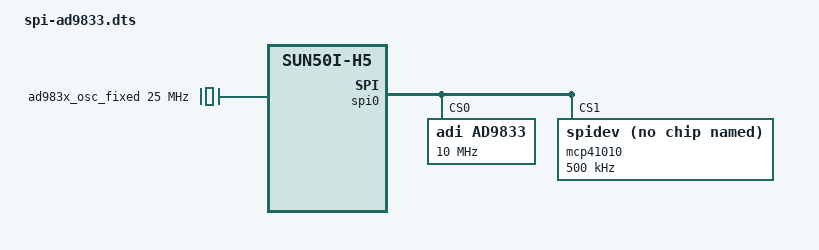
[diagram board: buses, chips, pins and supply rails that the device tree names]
/dts-v1/;
/plugin/;

/ {
	compatible = "allwinner,sun4i-a10", "allwinner,sun7i-a20", "allwinner,sun8i-h3", "allwinner,sun50i-a64", "allwinner,sun50i-h5";

	fragment@0 {
		target-path = "/clocks";
		__overlay__ {
			#address-cells = <1>;
			#size-cells = <1>;
			ad983x_osc_fixed: ad983x_osc_fixed {
				compatible = "fixed-clock";
				#clock-cells = <0>;
				clock-frequency  = <25000000>;
			};
		};
	};

	fragment@1 {
		target = <&spi0>;
		__overlay__ {
			#address-cells = <1>;
			#size-cells = <0>;
			status = "okay";
			ad9833@0 {
				reg = <0>; /* Chip Select 0 */
				compatible = "adi,ad9833";
				spi-max-frequency = <10000000>;
				clocks = <&ad983x_osc_fixed>;
				status = "okay";
			};

			mcp41010@1 {
				reg = <1>; /* Chip Select 1 */
				compatible = "spidev";
				spi-max-frequency = <500000>;
				status = "okay";
			};
		};
	};
};
